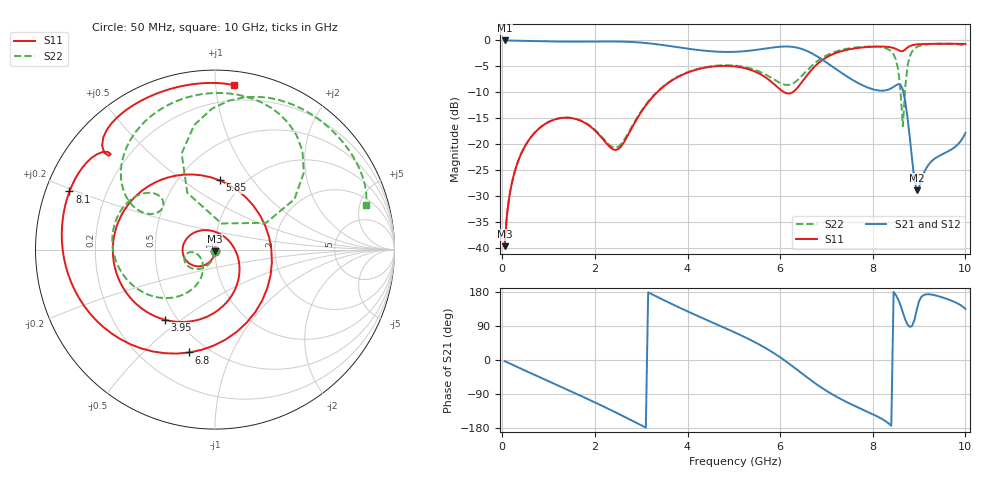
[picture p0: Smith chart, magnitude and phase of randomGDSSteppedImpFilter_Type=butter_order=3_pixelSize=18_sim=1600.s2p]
! freq	dB(S11)	phase(S11)	dB(S12)	phase(S12)
!  dB(S21)	phase(S21)	dB(S22)	phase(S22)
!S-par simulation data
#  GHz  S  DB  R 50
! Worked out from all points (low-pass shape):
!   200 points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, 50 MHz to 10 GHz, reference 50 ohm
!   highest |S21| = 0.00 dB at 50 MHz (marker M1); lowest = -28.9 dB at 8.95 GHz (marker M2)
!   |S21| within 3 dB of the highest: start of sweep to 6.787 GHz
!   lowest |S11| = -39.6 dB at 50 MHz (marker M3), VSWR 1.02, Z = 49.9 - j1.05 ohm
!   |S11| at or under -10 dB: start of sweep to 3.34 GHz; 6.096 GHz to 6.26 GHz (164.4 MHz wide, 2.66 % of centre)
!   |S22| runs from -39.5 to -0.6 dB; largest |S21 - S12| = 0
!   S11 on the Smith chart (normalised r, x): 50 MHz: 1.00, -0.02; 3.95 GHz: 0.43, -0.44; 5.85 GHz: 0.78, +0.70; 6.8 GHz: 0.40, -0.70; 8.1 GHz: 0.07, +0.19; 10 GHz: 0.09, +1.12
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0.05  -39.55 -92.6  -0.00 -2.9  -0.00 -2.9  -39.54 -92.0
0.2  -27.67 -102.4  -0.03 -11.4  -0.03 -11.4  -27.66 -100.3
0.55  -19.46 -124.6  -0.09 -31.1  -0.09 -31.1  -19.45 -118.5
1.15  -15.15 -162.6  -0.21 -64.4  -0.21 -64.4  -15.13 -147.2
1.75  -15.68 153.9  -0.24 -97.7  -0.24 -97.7  -15.63 -170.0
2.5  -20.91 37.0  -0.21 -141.4  -0.21 -141.4  -20.45 -141.3
3.4  -9.50 -86.3  -0.81 163.3  -0.81 163.3  -9.41 -129.1
3.95  -6.36 -125.7  -1.52 131.1  -1.52 131.1  -6.29 -153.2
5.05  -5.03 164.0  -2.17 71.1  -2.17 71.1  -4.87 159.3
5.85  -8.25 86.0  -1.35 19.3  -1.35 19.3  -7.42 136.0
6.3  -9.77 -12.6  -1.28 -19.5  -1.28 -19.5  -8.14 149.2
6.7  -5.45 -90.6  -2.56 -56.6  -2.56 -56.6  -4.74 149.0
6.8  -4.57 -104.1  -3.07 -65.3  -3.07 -65.3  -4.00 145.2
7.4  -1.89 -160.6  -6.68 -108.7  -6.68 -108.7  -1.68 115.6
8.1  -1.18 158.2  -9.59 -149.1  -9.59 -149.1  -1.21 78.6
8.35  -1.27 145.8  -9.41 -168.0  -9.41 -168.0  -1.77 59.9
8.55  -1.85 137.6  -8.41 159.4  -8.41 159.4  -5.61 32.4
8.65  -2.06 138.5  -9.48 125.4  -9.48 125.4  -16.48 76.0
8.75  -1.36 137.4  -14.82 93.8  -14.82 93.8  -4.93 109.1
8.95  -0.77 126.9  -28.85 132.9  -28.85 132.9  -1.27 79.2
9.4  -0.64 107.4  -22.36 169.0  -22.36 169.0  -0.64 49.3
10  -0.71 83.3  -17.81 134.9  -17.81 134.9  -1.13 16.3
